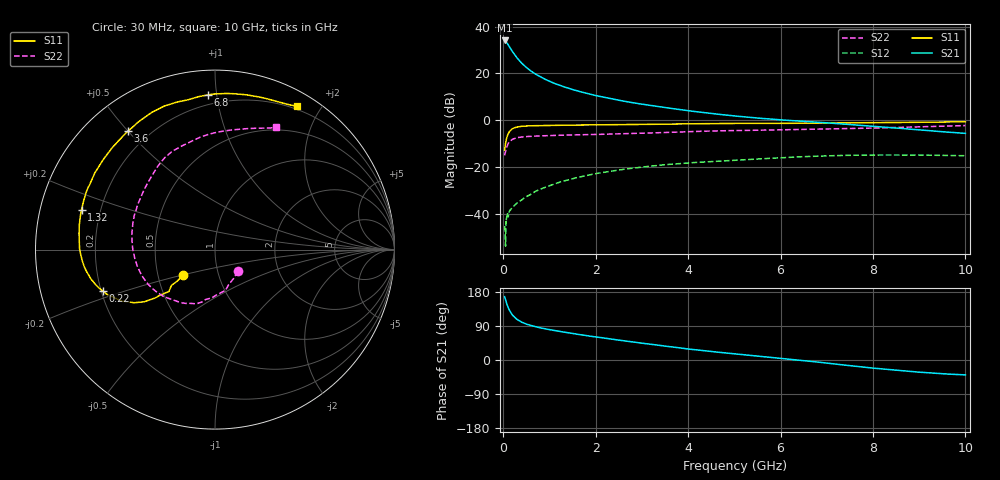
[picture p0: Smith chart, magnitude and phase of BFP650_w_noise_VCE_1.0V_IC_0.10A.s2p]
! Infineon Technologies  Discrete & RF Semiconductors
! BFP650
! VCE =  1.0 V,  IC = 0.10 A
! Common Emitter S-Parameters:  Jan 2016
# GHz  S  MA  R  50
!  f  S11  S21  S12  S22
! GHz  MAG  ANG  MAG  ANG  MAG  ANG  MAG  ANG
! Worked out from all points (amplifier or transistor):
!   229 points, 30 MHz to 10 GHz, reference 50 ohm
!   highest |S21| = 34.1 dB at 30 MHz (marker M1)
!   |S21| within 3 dB of that: start of sweep to 143.2 MHz
!   unconditionally stable (mu >= 1): start of sweep to 88.62 MHz; 92.13 MHz to 118.9 MHz; 573.4 MHz to end of sweep
!   at 280 MHz: K = 0.90, MSG = 31.5 dB, |S12| = -35.9 dB
!   at 1.78 GHz: K = 1.09, MAG = 15.9 dB, |S12| = -23.9 dB
!   at 10 GHz: K = 1.09, MAG = 3.0 dB, |S12| = -15.3 dB
!   lowest NFmin = 1.42 dB at 450 MHz
!   S11 on the Smith chart (normalised r, x): 30 MHz: 0.67, -0.20; 220 MHz: 0.21, -0.17; 1.32 GHz: 0.13, +0.14; 3.6 GHz: 0.13, +0.50; 6.8 GHz: 0.14, +0.94; 10 GHz: 0.16, +1.71
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0.03  0.2266 -141.8  50.48 167.2  0.0054 53.8  0.1757 -43.2
0.04  0.2717 -140.1  49.8 163.0  0.0042 71.0  0.1918 -57.5
0.07  0.3964 -140.3  46.29 150.9  0.0079 32.3  0.2522 -87.9
0.08  0.4286 -141.0  44.91 147.0  0.0084 43.0  0.2683 -93.4
0.1  0.4903 -143.6  41.87 140.5  0.0092 53.6  0.3011 -104.1
0.125  0.5492 -147.6  38.07 133.6  0.0106 57.2  0.3346 -116.4
0.15  0.5928 -151.1  34.87 127.8  0.0117 52.0  0.3552 -125.0
0.2  0.6532 -157.7  29.17 118.5  0.0136 50.1  0.3879 -137.6
0.22  0.6665 -159.8  27.35 116.1  0.0142 51.8  0.3948 -141.2
0.26  0.6922 -163.5  24.02 111.0  0.0154 54.2  0.4099 -147.7
0.34  0.7207 -169.1  19.11 103.9  0.0179 55.7  0.4265 -157.0
0.5  0.7459 -176.7  13.36 94.7  0.0229 59.0  0.4431 -168.3
0.6  0.7544 179.9  11.2 90.9  0.0258 57.7  0.449 -173.2
0.8  0.7619 174.3  8.429 84.9  0.0331 60.2  0.4587 179.5
1.32  0.7762 163.3  5.116 73.5  0.0498 57.4  0.4743 166.6
1.7  0.7854 156.3  3.965 66.3  0.0618 54.6  0.485 159.2
3.4  0.8136 129.3  1.913 38.4  0.1082 35.6  0.5377 131.7
3.6  0.8184 126.4  1.794 35.3  0.1127 33.3  0.5462 129.0
5.1  0.8477 108.6  1.199 15.1  0.1395 17.8  0.5983 112.5
6.8  0.8623 92.7  0.897 -5.4  0.1689 0.7  0.6384 94.8
8.4  0.8853 73.7  0.687 -26.0  0.1789 -17.1  0.6891 77.2
10  0.9203 60.2  0.519 -39.3  0.1727 -29.1  0.7619 63.5
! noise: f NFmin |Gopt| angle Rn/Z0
0.45  1.42  0.56  -171  0.06
0.9  1.44  0.58  -164  0.06
1.9  1.59  0.59  -150  0.09
2.4  1.69  0.57  -141  0.13
3.5  1.87  0.58  -118  0.25
